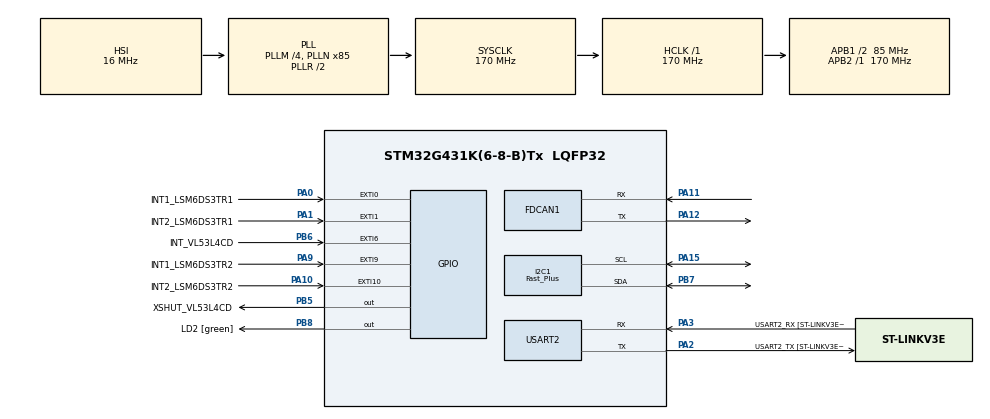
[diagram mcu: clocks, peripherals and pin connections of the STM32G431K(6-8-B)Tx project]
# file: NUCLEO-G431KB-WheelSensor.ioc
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FDCAN1.CalculateBaudRateNominal=499999
FDCAN1.CalculateTimeBitNominal=2000
FDCAN1.CalculateTimeQuantumNominal=117.64705882352942
FDCAN1.DataPrescaler=1
FDCAN1.FrameFormat=FDCAN_FRAME_CLASSIC
FDCAN1.Mode=FDCAN_MODE_NORMAL
FDCAN1.NominalPrescaler=10
FDCAN1.NominalTimeSeg1=14
FDCAN1.NominalTimeSeg2=2
I2C1.I2C_Speed_Mode=I2C_Fast_Plus
I2C1.Timing=0x00C20F27
Mcu.Family=STM32G4
Mcu.Name=STM32G431K(6-8-B)Tx
Mcu.Package=LQFP32
NVIC.EXTI0_IRQn=true\:0\:0\:false\:false\:true\:true\:true\:true
NVIC.EXTI15_10_IRQn=true\:0\:0\:false\:false\:true\:true\:true\:true
NVIC.EXTI1_IRQn=true\:0\:0\:false\:false\:true\:true\:true\:true
NVIC.EXTI9_5_IRQn=true\:0\:0\:false\:false\:true\:true\:true\:true
NVIC.FDCAN1_IT0_IRQn=true\:0\:0\:false\:false\:true\:true\:true\:true
NVIC.I2C1_EV_IRQn=true\:0\:0\:false\:false\:true\:true\:true\:true
NVIC.PriorityGroup=NVIC_PRIORITYGROUP_4
PA0.GPIO_Label=INT1_LSM6DS3TR1
PA0.GPIO_ModeDefaultEXTI=GPIO_MODE_IT_RISING
PA0.GPIO_PuPd=GPIO_PULLDOWN
PA0.Signal=GPXTI0
PA1.GPIO_Label=INT2_LSM6DS3TR1
PA1.GPIO_ModeDefaultEXTI=GPIO_MODE_IT_RISING
PA1.GPIO_PuPd=GPIO_PULLDOWN
PA1.Signal=GPXTI1
PA10.GPIO_Label=INT2_LSM6DS3TR2
PA10.GPIO_ModeDefaultEXTI=GPIO_MODE_IT_RISING
PA10.GPIO_PuPd=GPIO_PULLDOWN
PA10.Signal=GPXTI10
PA11.Mode=FDCAN_Activate
PA11.Signal=FDCAN1_RX
PA12.Mode=FDCAN_Activate
PA12.Signal=FDCAN1_TX
PA13.GPIO_Label=T_SWDIO
PA13.Mode=Serial_Wire
PA13.Signal=SYS_JTMS-SWDIO
PA14.GPIO_Label=T_SWCLK
PA14.Mode=Serial_Wire
PA14.Signal=SYS_JTCK-SWCLK
PA15.Mode=I2C
PA15.Signal=I2C1_SCL
PA2.GPIO_Label=USART2_TX [ST-LINKV3E_VCP_RX]
PA2.Mode=Asynchronous
PA2.Signal=USART2_TX
PA3.GPIO_Label=USART2_RX [ST-LINKV3E_VCP_TX]
PA3.Mode=Asynchronous
PA3.Signal=USART2_RX
PA9.GPIO_Label=INT1_LSM6DS3TR2
PA9.GPIO_ModeDefaultEXTI=GPIO_MODE_IT_RISING
PA9.GPIO_PuPd=GPIO_PULLDOWN
PA9.Signal=GPXTI9
PB3.GPIO_Label=T_SWO
PB3.Signal=SYS_JTDO-SWO
PB5.GPIO_Label=XSHUT_VL53L4CD
PB5.GPIO_PuPd=GPIO_PULLUP
PB5.Signal=GPIO_Output
PB6.GPIO_Label=INT_VL53L4CD
PB6.GPIO_ModeDefaultEXTI=GPIO_MODE_IT_FALLING
PB6.Signal=GPXTI6
PB7.Mode=I2C
PB7.Signal=I2C1_SDA
PB8-BOOT0.GPIO_Label=LD2 [green]
PB8-BOOT0.Signal=GPIO_Output
ProjectManager.HeapSize=0x200
ProjectManager.StackSize=0x400
ProjectManager.TargetToolchain=CMake
RCC.ADC12Freq_Value=170000000
RCC.AHBFreq_Value=170000000
RCC.APB1CLKDivider=RCC_HCLK_DIV2
RCC.APB1Freq_Value=85000000
RCC.APB1TimFreq_Value=170000000
RCC.APB2Freq_Value=170000000
RCC.APB2TimFreq_Value=170000000
RCC.CortexFreq_Value=170000000
RCC.EXTERNAL_CLOCK_VALUE=12288000
RCC.HCLKFreq_Value=170000000
RCC.HSE_VALUE=8000000
RCC.HSI48_VALUE=48000000
RCC.HSI_VALUE=16000000
RCC.LSE_VALUE=32768
RCC.PLLM=RCC_PLLM_DIV4
RCC.PLLN=85
RCC.SYSCLKFreq_VALUE=170000000
RCC.SYSCLKSource=RCC_SYSCLKSOURCE_PLLCLK
RCC.USBFreq_Value=170000000
RCC.VCOOutputFreq_Value=340000000
USART2.VirtualMode-Asynchronous=VM_ASYNC
USART2.WordLength=WORDLENGTH_8B
VP_SYS_VS_DBSignals.Mode=DisableDeadBatterySignals
board=NUCLEO-G431KB

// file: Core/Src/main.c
/* USER CODE BEGIN Header */
/**
 ******************************************************************************
 * @file           : main.c
 * @brief          : Main program body
 ******************************************************************************
 * @attention
 *
 * Copyright (c) 2024 STMicroelectronics.
 * All rights reserved.
 *
 * This software is licensed under terms that can be found in the LICENSE file
 * in the root directory of this software component.
 * If no LICENSE file comes with this software, it is provided AS-IS.
 *
 ******************************************************************************
 */
/* USER CODE END Header */
#include "main.h"
#include "fdcan.h"
#include "gpio.h"
#include "i2c.h"
#include "usart.h"

/* USER CODE BEGIN Includes */
#include "VL53L4CD_api.h"
#include "imu.h"
#include "lsm6ds3tr-c_reg.h"
#include "lsm6ds3tr_platform.h"
#include "state.h"
#include "tof.h"
#include <stdbool.h>
#include <stdio.h>
/* USER CODE END Includes */

/* USER CODE BEGIN PD */
#define TOF_ADDRESS VL53L4CD_DEFAULT_I2C_ADDRESS
/* USER CODE END PD */

/* USER CODE BEGIN PV */
typedef struct int_flag_s {
    bool TOF_INT, IMU_INT_1, IMU_INT_2 : 1;
} int_flag;
volatile int_flag INT_STATUS;
VL53L4CD_ResultsData_t results;
uint16_t tofResult;
uint16_t imu1NotReadyCount;
uint16_t imu2NotReadyCount;

// TODO: Move this to local variable after testing
state current_state;
/* USER CODE END PV */

void SystemClock_Config(void);
/* USER CODE BEGIN PFP */
#ifdef __GNUC__
#define PUTCHAR_PROTOTYPE int __io_putchar(int ch)
#else
#define PUTCHAR_PROTOTYPE int fputc(int ch, FILE *f)
#endif
PUTCHAR_PROTOTYPE {
    HAL_UART_Transmit(&huart2, (uint8_t *)&ch, 1, 0xFFFF);
    return ch;
}
/* USER CODE END PFP */

/* USER CODE BEGIN 0 */

void HAL_GPIO_EXTI_Callback(uint16_t GPIO_Pin) {
    switch (GPIO_Pin) {
    case INT_VL53L4CD_Pin: {
        INT_STATUS.TOF_INT = true;
        break;
    }
    case INT1_LSM6DS3TR1_Pin: {
        INT_STATUS.IMU_INT_1 = true;
        break;
    }
    case INT1_LSM6DS3TR2_Pin: {
        INT_STATUS.IMU_INT_2 = true;
        break;
    }
    case INT2_LSM6DS3TR1_Pin: {
        printf("INT2 IMU1 hit\r\n");
        break;
    }
    case INT2_LSM6DS3TR2_Pin: {
        printf("INT2 IMU2 hit\r\n");
        break;
    }
    default: {
        printf("Unk int hit: %x\r\n", GPIO_Pin);
        break;
    }
    }
}

/* USER CODE END 0 */

int main(void) {

    /* USER CODE BEGIN 1 */
    int status;

    /* USER CODE END 1 */

    /* MCU
     * Configuration--------------------------------------------------------*/

    /* Reset of all peripherals, Initializes the Flash interface and the
     * Systick. */
    HAL_Init();

    /* Configure the system clock */
    SystemClock_Config();

    /* Initialize all configured peripherals */
    MX_GPIO_Init();
    MX_USART2_UART_Init();
    MX_FDCAN1_Init();
    MX_I2C1_Init();
    /* USER CODE BEGIN 2 */

    status = HAL_FDCAN_Start(&hfdcan1);

    if (status) {
        printf("Cannot start FDCAN: %x\r\n", status);
        return status;
    }

    printf("Serial initialized\r\n");

    status = TOF_Setup(TOF_ADDRESS);

    if (status) {
        printf("Cannot setup VL53L4CD: %x\r\n", status);
        return status;
    }

    status = VL53L4CD_SetRangeTiming(TOF_ADDRESS, 10, 0);

    if (status) {
        printf("Cannot set range of VL53L4CD: %x\r\n", status);
        return status;
    }

    status = VL53L4CD_StartRanging(TOF_ADDRESS);

    if (status) {
        printf("Cannot start ranging of VL53L4CD: %x\r\n", status);
        return status;
    }

    // FDCAN header
    FDCAN_TxHeaderTypeDef header;
    header.Identifier = SENSOR_ID;
    header.IdType = FDCAN_STANDARD_ID;
    header.TxFrameType = FDCAN_FRAME_FD_NO_BRS;
    header.DataLength = FDCAN_DLC_BYTES_2;
    header.ErrorStateIndicator = FDCAN_ESI_PASSIVE;
    header.BitRateSwitch = FDCAN_BRS_OFF;
    header.FDFormat = FDCAN_CLASSIC_CAN;
    header.TxEventFifoControl = FDCAN_NO_TX_EVENTS;
    header.MessageMarker = 0;

    lsm6ds3tr_handle handle1 = {.i2c_handle = &hi2c1,
                                .device_address = LSM6DS3TR_C_I2C_ADD_L};

    lsm6ds3tr_handle handle2 = {.i2c_handle = &hi2c1,
                                .device_address = LSM6DS3TR_C_I2C_ADD_H};

    // According to docs, LSM6DS3TR-C needs 15ms to startup, should be good
    // enough to just wait 15ms before setup.
    HAL_Delay(150);

    // printf("Setting up IMU1\r\n");
    stmdev_ctx_t imu1 = IMU_Setup(&handle1);
    // if (imu1.handle == 0) {
    //    // TODO: More logging
    //    return 127;
    //}
    // printf("Calibrating IMU1\r\n");
    // status = IMU_Calibrate(&imu1);
    // if (status != HAL_OK) {
    //     printf("Failed to calibrate IMU1: %d\r\n", status);
    //     return -123;
    // }

    // status = IMU_SetInterrupt(&imu1);
    // if (status != HAL_OK) {
    //     printf("Failed to set interrupt on IMU1: %d\r\n", status);
    //     return -124;
    // }

    // printf("Setting up IMU2\r\n");
    stmdev_ctx_t imu2 = IMU_Setup(&handle2);
    // if (imu2.handle == 0) {
    //     // TODO: More logging
    //     return 127;
    // }
    //  printf("Calibrating IMU2\r\n");
    //  status = IMU_Calibrate(&imu2);
    //  if (status != HAL_OK) {
    //      printf("Failed to calibrate IMU2: %d\r\n", status);
    //      return -123;
    //  }
    //
    // status = IMU_SetInterrupt(&imu2);
    // if (status != HAL_OK) {
    //    printf("Failed to set interrupt on IMU1: %d\r\n", status);
    //    return -124;
    //}

    current_state = state_init();

    current_state.tof_distance = 10;
    current_state.current_accel_orthogonal = 0.f;

    imu1NotReadyCount = 0;
    imu2NotReadyCount = 0;

    /* USER CODE END 2 */

    /* Infinite loop */
    /* USER CODE BEGIN WHILE */
    while (1) {
        if (INT_STATUS.TOF_INT) {
            INT_STATUS.TOF_INT = false;
            int status = VL53L4CD_GetResult(TOF_ADDRESS, &results);
            if (status) {
                printf("Cannot get result from VL53L4CD: %x\r\n", status);
                continue;
            }
            if (results.range_status == 0) {
                tofResult = results.distance_mm;
                printf("TOF result got: %d\r\n", tofResult);
                //  printf("Sending new CAN message\r\n");
                int status = HAL_FDCAN_AddMessageToTxFifoQ(
                    &hfdcan1, &header, (uint8_t *)(&tofResult));

                if (status != HAL_OK && status != 1) {
                    printf("Cannot add message to FDCAN: %x\r\n", status);
                    status = VL53L4CD_ClearInterrupt(TOF_ADDRESS);
                    if (status) {
                        printf("Cannot clear interrupt from VL53L4CD: %x\r\n",
                               status);
                        continue;
                    }
                }
            }
            status = VL53L4CD_ClearInterrupt(TOF_ADDRESS);
            if (status) {
                printf("Cannot clear interrupt from VL53L4CD: %x\r\n", status);
                continue;
            }

            state_update_displacement(&current_state, tofResult,
                                      results.sigma_mm);
        } else if (INT_STATUS.IMU_INT_1) {
            // TODO: Implement 1D state Filter to fuse IMU with ToF
            INT_STATUS.IMU_INT_1 = false;

            int result = IMU_GetAccel(&imu1, current_state.imu1_results);
            if (result != HAL_OK && result != -23) {
                printf("Failed to get result from IMU1: %d\r\n", result);
            } else if (result == -23) {
                imu1NotReadyCount++;
            } else {
                imu1NotReadyCount = 0;
                // printf("IMU1 Result retrieved: %f,%f,%f\r\n",
                //        current_state.imu1_results[0],
                //        current_state.imu1_results[1],
                //        current_state.imu1_results[2]);
                state_update_accel(&current_state);
            }
        } else if (INT_STATUS.IMU_INT_2) {
            INT_STATUS.IMU_INT_2 = false;

            int result = IMU_GetAccel(&imu2, current_state.imu2_results);
            if (result != HAL_OK && result != -23) {
                printf("Failed to get result from IMU2: %d\r\n", result);
            } else if (result == -23) {
                imu2NotReadyCount++;
            } else {
                imu2NotReadyCount = 0;
                printf("IMU2 Result retrieved: %x,%x,%x\r\n",
                       *(unsigned int *)&current_state.imu2_results[0],
                       *(unsigned int *)&current_state.imu2_results[1],
                       *(unsigned int *)&current_state.imu2_results[2]);

                state_update_accel(&current_state);
                state_predict_next(&current_state);
            }
        }
        /* USER CODE END WHILE */

        /* USER CODE BEGIN 3 */
    }
    status = VL53L4CD_StopRanging(TOF_ADDRESS);
    if (status) {
        printf("Cannot stop ranging VL53L4CD: %x\r\n", status);
        return status;
    }
    /* USER CODE END 3 */
}

void SystemClock_Config(void) {
    RCC_OscInitTypeDef RCC_OscInitStruct = {0};
    RCC_ClkInitTypeDef RCC_ClkInitStruct = {0};

    /** Configure the main internal regulator output voltage
     */
    HAL_PWREx_ControlVoltageScaling(PWR_REGULATOR_VOLTAGE_SCALE1_BOOST);

    /** Initializes the RCC Oscillators according to the specified parameters
     * in the RCC_OscInitTypeDef structure.
     */
    RCC_OscInitStruct.OscillatorType = RCC_OSCILLATORTYPE_HSI;
    RCC_OscInitStruct.HSIState = RCC_HSI_ON;
    RCC_OscInitStruct.HSICalibrationValue = RCC_HSICALIBRATION_DEFAULT;
    RCC_OscInitStruct.PLL.PLLState = RCC_PLL_ON;
    RCC_OscInitStruct.PLL.PLLSource = RCC_PLLSOURCE_HSI;
    RCC_OscInitStruct.PLL.PLLM = RCC_PLLM_DIV4;
    RCC_OscInitStruct.PLL.PLLN = 85;
    RCC_OscInitStruct.PLL.PLLP = RCC_PLLP_DIV2;
    RCC_OscInitStruct.PLL.PLLQ = RCC_PLLQ_DIV2;
    RCC_OscInitStruct.PLL.PLLR = RCC_PLLR_DIV2;
    if (HAL_RCC_OscConfig(&RCC_OscInitStruct) != HAL_OK) {
        Error_Handler();
    }

    /** Initializes the CPU, AHB and APB buses clocks
     */
    RCC_ClkInitStruct.ClockType = RCC_CLOCKTYPE_HCLK | RCC_CLOCKTYPE_SYSCLK |
                                  RCC_CLOCKTYPE_PCLK1 | RCC_CLOCKTYPE_PCLK2;
    RCC_ClkInitStruct.SYSCLKSource = RCC_SYSCLKSOURCE_PLLCLK;
    RCC_ClkInitStruct.AHBCLKDivider = RCC_SYSCLK_DIV1;
    RCC_ClkInitStruct.APB1CLKDivider = RCC_HCLK_DIV2;
    RCC_ClkInitStruct.APB2CLKDivider = RCC_HCLK_DIV1;

    if (HAL_RCC_ClockConfig(&RCC_ClkInitStruct, FLASH_LATENCY_4) != HAL_OK) {
        Error_Handler();
    }
}

void Error_Handler(void) {
    /* USER CODE BEGIN Error_Handler_Debug */
    /* User can add his own implementation to report the HAL error return
     * state
     */
    __disable_irq();
    printf("Error occured\r\n");
    while (1) {
    }
    /* USER CODE END Error_Handler_Debug */
}
